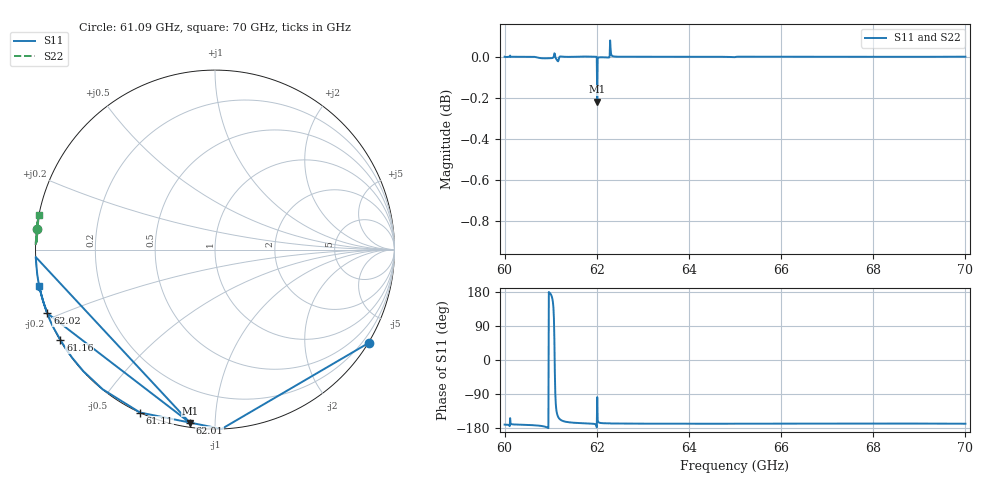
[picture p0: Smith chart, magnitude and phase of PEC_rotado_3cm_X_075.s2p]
! TOUCHSTONE file generated by CST MICROWAVE STUDIO
! Date and time: Sat Feb 17 15:53:08 2024
! Project name: metal_rotado.cst
! Parameters = {PX=0.75; angX=2; angY=2}
! Header version: 2018
! Port assignment regex: !\s*Touchstone port\s*([0-9]+)\s*=\s*(CST MWS port|CST DS port)\s*([0-9]+|Zmin|Zmax)\s*\(\"(.*)\"\)(\s*mode\s*([0-9]+))?.*
! Touchstone port assignment:
! Touchstone port 1 = CST MWS port 1 ("")
! Touchstone port 2 = CST MWS port 2 ("")
# GHz S MA R 376.7
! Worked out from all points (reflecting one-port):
!   1001 points, 60 GHz to 70 GHz, reference 376.7 ohm
!   lowest |S11| = -0.2 dB at 62.01 GHz (marker M1), VSWR 79.55, Z = 8.29 - j326 ohm
!   phase of S11 starts at -171 deg and turns -358 deg over the sweep
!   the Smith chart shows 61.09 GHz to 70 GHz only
!   S11 on the Smith chart (normalised r, x): 61.09 GHz: -0.01, -3.57; 61.11 GHz: 0.00, -0.64; 61.16 GHz: 0.00, -0.27; 62.01 GHz: 0.02, -0.87; 62.02 GHz: 0.00, -0.18; 70 GHz: -0.00, -0.10
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60  1 -170.5  1.303e-65 180.0  1.303e-65 180.0  1 169.3
60.41  1 -171.0  8.018e-66 180.0  8.018e-66 180.0  1 160.9
60.47  1 -171.2  8.017e-66 180.0  8.017e-66 180.0  0.9998 149.6
60.51  1 -171.4  8.011e-66 179.9  8.011e-66 179.9  0.9994 100.8
60.56  1 -171.7  8.018e-66 -180.0  8.018e-66 -180.0  1 -154.8
60.58  1 -171.8  7.016e-66 -180.0  7.016e-66 -180.0  1 -166.7
60.67  0.9999 -172.5  7.016e-66 -180.0  7.016e-66 -180.0  1 179.8
60.98  0.9992 177.2  6.014e-66 180.0  6.014e-66 180.0  1 174.0
61.03  0.9993 164.9  6.014e-66 180.0  6.014e-66 180.0  1 173.8
61.09  1.002 -31.3  5.001e-66 -180.0  5.001e-66 -180.0  1 173.5
61.11  0.9992 -114.7  4.007e-66 -179.9  4.007e-66 -179.9  1 173.4
61.14  0.998 -142.8  3.006e-66 -180.0  3.006e-66 -180.0  1 173.3
61.16  0.9974 -149.7  3.007e-66 -180.0  3.007e-66 -180.0  1 173.2
61.29  1 -161.9  0 0.0  0 0.0  1 172.9
61.67  1 -166.7  1.002e-66 -180.0  1.002e-66 -180.0  1 172.2
62.01  0.9752 -98.2  0 0.0  0 0.0  1 172.2
62.02  0.9991 -159.2  3.007e-66 0.0  3.007e-66 0.0  1 172.2
63.34  1 -168.1  5.012e-66 0.0  5.012e-66 0.0  1 171.4
65  0.9998 -168.2  0 0.0  0 0.0  1 170.8
66.67  1 -167.9  9.021e-66 0.0  9.021e-66 0.0  0.9999 170.8
68.34  1 -167.7  1.002e-65 0.0  1.002e-65 0.0  1 170.4
70  1 -168.2  0 0.0  0 0.0  1 168.8
